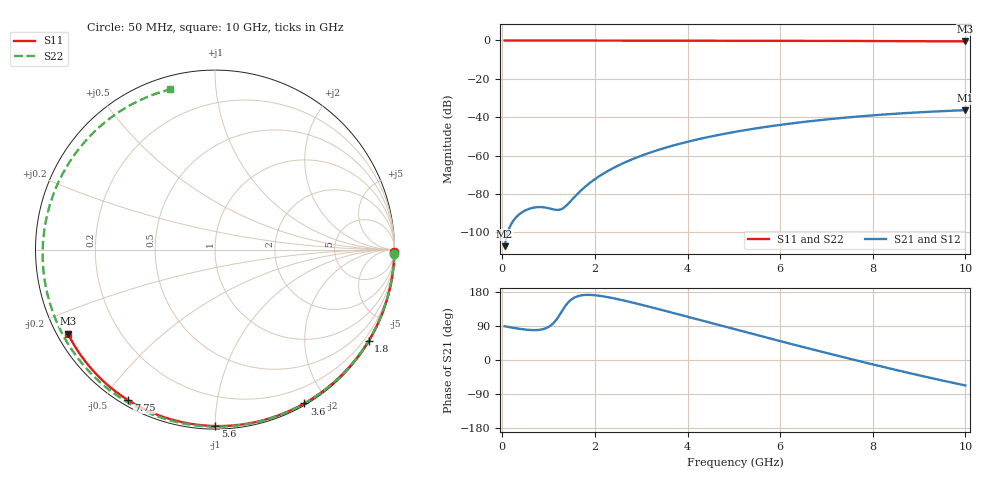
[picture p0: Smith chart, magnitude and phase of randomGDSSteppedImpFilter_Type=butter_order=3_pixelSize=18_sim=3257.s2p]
! freq	dB(S11)	phase(S11)	dB(S12)	phase(S12)
!  dB(S21)	phase(S21)	dB(S22)	phase(S22)
!S-par simulation data
#  GHz  S  DB  R 50
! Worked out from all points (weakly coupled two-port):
!   200 points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, 50 MHz to 10 GHz, reference 50 ohm
!   highest |S21| = -36.35 dB at 10 GHz (marker M1); lowest = -107.3 dB at 50 MHz (marker M2)
!   lowest |S11| = -0.5 dB at 10 GHz (marker M3), VSWR 34.57, Z = 1.55 - j13.3 ohm
!   |S11| at or under -10 dB: nowhere
!   |S22| runs from -0.7 to 0.0 dB; largest |S21 - S12| = 0
!   S11 on the Smith chart (normalised r, x): 50 MHz: open; 1.8 GHz: 0.03, -3.64; 3.6 GHz: 0.02, -1.74; 5.6 GHz: 0.02, -1.00; 7.75 GHz: 0.02, -0.58; 10 GHz: 0.03, -0.27
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0.05  -0.00 -0.9  -107.27 89.1  -107.27 89.1  -0.00 -1.4
0.8  -0.02 -13.8  -86.90 79.6  -86.90 79.6  -0.03 -22.5
1.6  -0.03 -27.4  -80.61 167.1  -80.61 167.1  -0.06 -44.5
1.65  -0.04 -28.2  -79.39 169.1  -79.39 169.1  -0.06 -45.8
1.75  -0.04 -29.9  -77.11 171.3  -77.11 171.3  -0.06 -48.5
1.8  -0.04 -30.7  -76.06 171.8  -76.06 171.8  -0.06 -49.9
2.1  -0.05 -35.7  -70.69 169.4  -70.69 169.4  -0.07 -57.8
2.45  -0.05 -41.4  -65.86 161.7  -65.86 161.7  -0.08 -66.9
2.9  -0.06 -48.8  -61.05 149.0  -61.05 149.0  -0.10 -78.4
3.4  -0.08 -56.7  -56.84 133.4  -56.84 133.4  -0.12 -90.8
3.6  -0.08 -59.9  -55.40 127.1  -55.40 127.1  -0.12 -95.6
4.3  -0.10 -70.7  -51.13 104.4  -51.13 104.4  -0.15 -112.3
5.05  -0.13 -81.9  -47.55 80.1  -47.55 80.1  -0.19 -129.7
5.6  -0.15 -89.9  -45.40 62.5  -45.40 62.5  -0.23 -142.2
6.15  -0.17 -97.8  -43.56 45.1  -43.56 45.1  -0.26 -154.8
6.7  -0.20 -105.5  -41.97 27.9  -41.97 27.9  -0.31 -167.5
7.25  -0.24 -113.1  -40.60 11.0  -40.60 11.0  -0.36 179.5
7.75  -0.28 -119.9  -39.53 -4.2  -39.53 -4.2  -0.41 167.4
8.35  -0.33 -128.0  -38.43 -21.9  -38.43 -21.9  -0.47 152.1
9.15  -0.41 -138.8  -37.28 -44.6  -37.28 -44.6  -0.56 130.5
9.6  -0.46 -144.8  -36.75 -56.7  -36.75 -56.7  -0.61 117.6
10  -0.50 -150.3  -36.35 -67.2  -36.35 -67.2  -0.66 105.6
